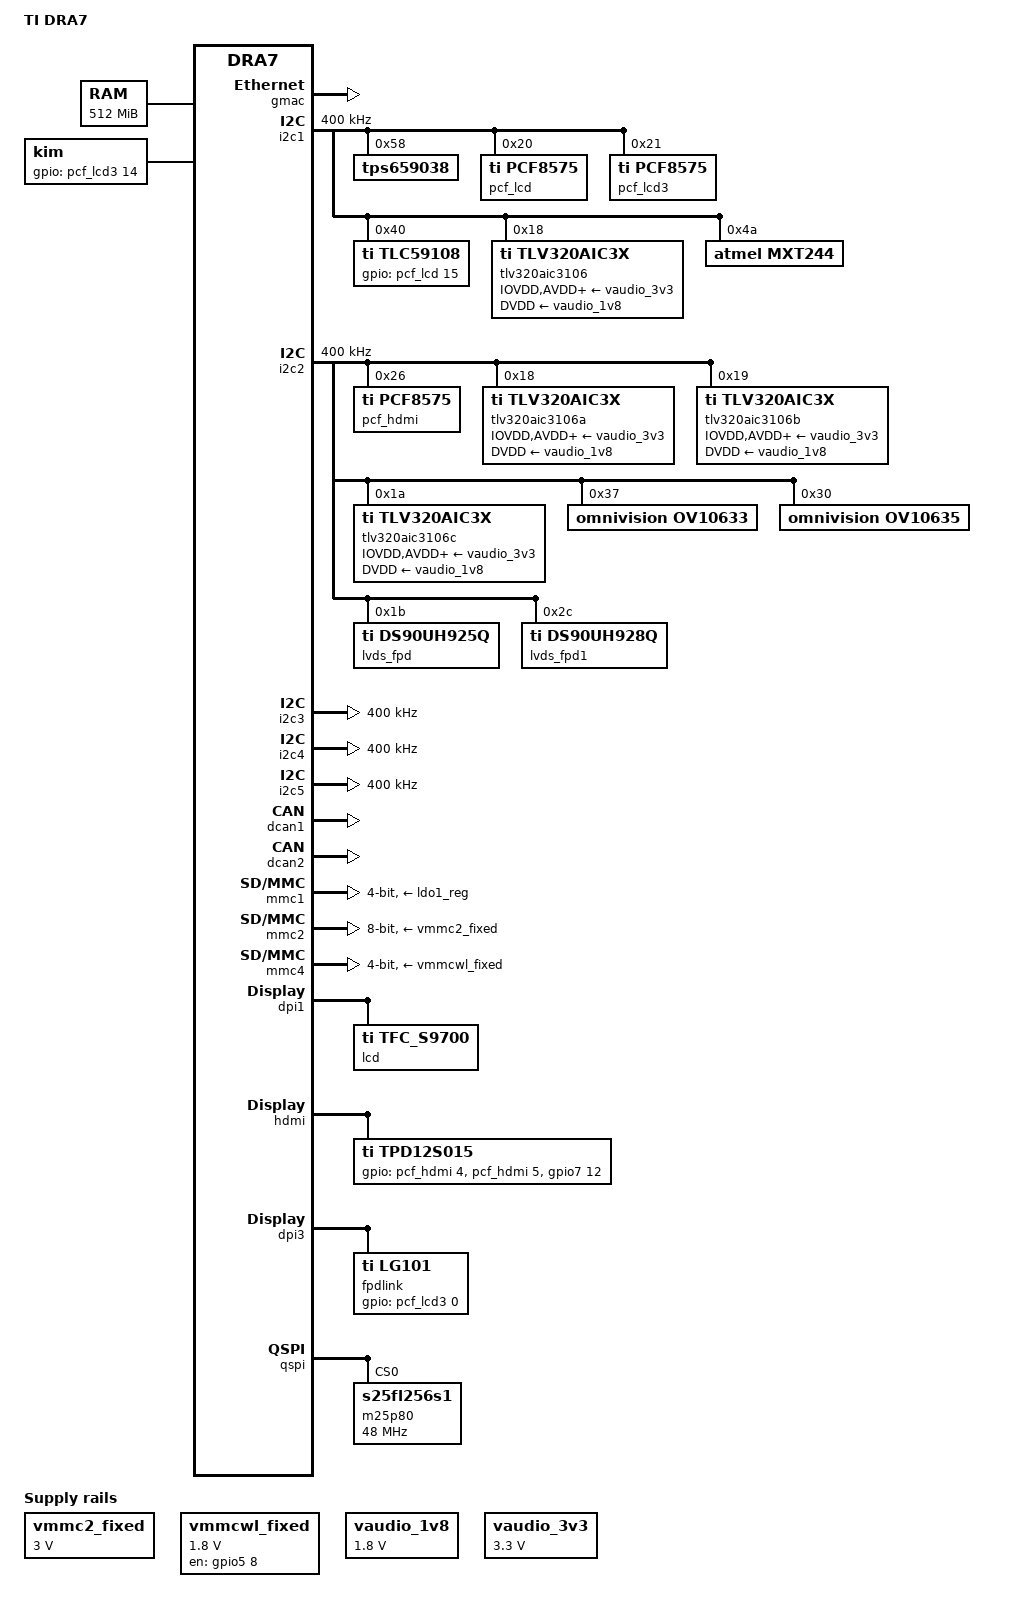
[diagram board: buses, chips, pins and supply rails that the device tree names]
/*
 * Copyright (C) 2013 Texas Instruments Incorporated - http://www.ti.com/
 *
 * This program is free software; you can redistribute it and/or modify
 * it under the terms of the GNU General Public License version 2 as
 * published by the Free Software Foundation.
 */
/dts-v1/;

/*
 * Memory is reserved for ipu1 for rearview camera
 */
/memreserve/ 0x8E000000 0x1000000;
/memreserve/ 0xA0000000 0x1800000;

/include/ "dra7.dtsi"

/ {
	model = "TI DRA7";
	compatible = "ti,dra7-evm", "ti,dra7";

	cpus {
		cpu@0 {
			cpu0-supply = <&abb_mpu>;
		};
	};

	memory {
		device_type = "memory";
		reg = <0x80000000 0x20000000>; /* 512 MB */
	};

	vmmc2_fixed: fixedregulator-mmc2 {
		compatible = "regulator-fixed";
		regulator-name = "vmmc2_fixed";
		regulator-min-microvolt = <3000000>;
		regulator-max-microvolt = <3000000>;
	};

	vmmcwl_fixed: fixedregulator-mmcwl {
		compatible = "regulator-fixed";
		regulator-name = "vmmcwl_fixed";
		regulator-min-microvolt = <1800000>;
		regulator-max-microvolt = <1800000>;
		gpio = <&gpio5 8 0>;	/* gpio5_8 */
		startup-delay-us = <70000>;
		enable-active-high;
	};

	wlcore {
		compatible = "wlcore";
		gpio = <135>;
	};

	ocp {
		gpu: gpu@0x56000000 {
			gpu-supply = <&abb_gpu>;
		};
	};

	vaudio_1v8: fixedregulator-vaudio-dig {
		compatible = "regulator-fixed";
		regulator-name = "vdac_fixed";
		regulator-min-microvolt = <1800000>;
		regulator-max-microvolt = <1800000>;
		regulator-boot-on;
	};

	vaudio_3v3: fixedregulator-vaudio-anlg {
		compatible = "regulator-fixed";
		regulator-name = "vdac_fixed";
		regulator-min-microvolt = <3300000>;
		regulator-max-microvolt = <3300000>;
		regulator-boot-on;
	};

	sound {
		compatible = "ti,dra7-evm-sound";
		ti,model = "dra7evm";
		ti,always-on;

		/* Audio routing */
		ti,audio-routing =
			"LINE1L", "Line In",
			"LINE1R", "Line In",
			"MIC3L", "Mic Bias 2V",
			"MIC3R", "Mic Bias 2V",
			"Mic Bias 2V", "Main Mic",
			"Headphone", "HPLOUT",
			"Headphone", "HPROUT",
			"Line Out", "LLOUT",
			"Line Out", "RLOUT",
			"J3A LINE1L", "JAMR3 Stereo Aux In",
			"J3A LINE1R", "JAMR3 Stereo Aux In",
			"J3B LINE1L", "JAMR3 Mono Mic 1",
			"J3B LINE1R", "JAMR3 Mono Mic 2",
			"JAMR3 Line Out 1", "J3A LLOUT",
			"JAMR3 Line Out 1", "J3A RLOUT",
			"JAMR3 Line Out 2", "J3B LLOUT",
			"JAMR3 Line Out 2", "J3B RLOUT",
			"JAMR3 Line Out 3", "J3C LLOUT",
			"JAMR3 Line Out 3", "J3C RLOUT";

		/* Media DAI link */
		ti,media-cpu = <&mcasp3>;
		ti,media-codec = <&tlv320aic3106>;
		ti,media-mclk-freq = <5644800>;
		ti,media-slots = <2>;

		/* Multichannel DAI link */
		ti,multichannel-cpu = <&mcasp6>;
		ti,multichannel-codec-a = <&tlv320aic3106a>;
		ti,multichannel-codec-b = <&tlv320aic3106b>;
		ti,multichannel-codec-c = <&tlv320aic3106c>;
		ti,multichannel-slots = <8>;
		ti,multichannel-mclk-freq = <11289600>;

		/* Bluetooth */
		ti,bt-cpu = <&mcasp7>;
		ti,bt-bclk-freq = <512000>;
	};

	sound_hdmi {
		compatible = "ti,omap-hdmi-tpd12s015-audio";
		ti,model = "OMAP5HDMI";
		ti,hdmi_audio = <&hdmi>;
		ti,level_shifter = <&tpd12s015>;
	};

	kim {
		compatible = "kim";
		nshutdown_gpio = <132>;
		dev_name = "/dev/ttyO2";
		flow_cntrl = <1>;
		baud_rate = <3686400>;
		gpios = <&pcf_lcd3 14 0>; /* pcf8575@21 P16 */
	};

	btwilink {
		compatible = "btwilink";
	};

	display_skipinit {
		skip_init =<1>;
	};
};

&dra7_pmx_core {
        pinctrl-names = "default";
        pinctrl-0 = <
		&atl_pins
		&mcasp3_pins
		&mcasp6_pins
		&mcasp7_pins
		&mcasp8_pins
		&vout1_pins
		&vout3_pins
		&vin1a_pins
		&usb_pins
		&irq_pins
		&bt_uart3_pins
		&wl_pins
		&wlirq_pins
	>;

	atl_pins: pinmux_atl_pins {
		pinctrl-single,pins = <
			0x298 0x00000005	/* xref_clk1.atl_clk1 OUTPUT | MODE5 */
			0x29c 0x00000005	/* xref_clk2.atl_clk2 OUTPUT | MODE5 */
		>;
	};

	mcasp3_pins: pinmux_mcasp3_pins {
		pinctrl-single,pins = <
			0x324 0x00000000	/* mcasp3_aclkx.mcasp3_aclkx OUTPUT | MODE0 */
			0x328 0x00000000	/* mcasp3_fsx.mcasp3_fsx OUTPUT | MODE0 */
			0x32c 0x00000000	/* mcasp3_axr0.mcasp3_axr0 OUTPUT | MODE0 */
			0x330 0x00040000	/* mcasp3_axr1.mcasp3_axr1 INPUT | MODE0 */
		>;
	};

	mcasp6_pins: pinmux_mcasp6_pins {
		pinctrl-single,pins = <
			0x2d4 0x00000001	/* mcasp1_axr8.mcasp6_axr0 OUTPUT | MODE1 */
			0x2d8 0x00040001	/* mcasp1_axr9.mcasp6_axr1 INPUT | MODE 1 */
			0x2dc 0x00000001	/* mcasp1_axr10.mcasp6_clkx OUTPUT | MODE1 */
			0x2e0 0x00000001	/* mcasp1_axr11.mcasp6_fsx OUTPUT | MODE1 */
		>;
	};

	mcasp7_pins: pinmux_mcasp7_pins {
		pinctrl-single,pins = <
			0x2e4 0x00040001	/* mcasp1_axr12.mcasp7_axr0 INPUT | MODE 1 */
			0x2e8 0x00000001	/* mcasp1_axr13.mcasp7_axr1 OUTPUT | MODE 1 */
			0x2ec 0x00040001	/* mcasp1_axr14.mcasp7_clkx INPUT | MODE1 */
			0x2f0 0x00040001	/* mcasp1_axr15.mcasp7_fsx INPUT | MODE1 */
		>;
	};

	mcasp8_pins: pinmux_mcasp8_pins {
		pinctrl-single,pins = <
			0x2fc 0x00040001	/* mcasp2_aclkr.mcasp8_axr2 OUTPUT | MODE1 */
		>;
	};

	irq_pins: pinmux_irq_pins {
                pinctrl-single,pins = <
			0x420	0x1	/* Wakeup2 INPUT | MODE1 */
                >;
        };

	usb_pins: pinmux_usb_pins {
                pinctrl-single,pins = <
			0x280	0xc0000	/* DRV1_VBUS SLEW | PULLDEN | MODE0 */
			0x284	0xc0000	/* DRV2_VBUS SLEW | PULLDEN | MODE0 */
                >;
        };

	i2c2_pins: pinmux_i2c2_pins {
                pinctrl-single,pins = <
			0x408	0x60000	/* i2c2_sda INPUT | MODE0 */
			0x40C	0x60000	/* i2c2_scl INPUT | MODE0 */
                >;
        };

	vout1_pins: pinmux_vout1_pins {
		pinctrl-single,pins = <
			0x1C8	0x0	/* vout1_clk OUTPUT | MODE0 */
			0x1CC	0x0	/* vout1_de OUTPUT | MODE0 */
			0x1D0	0x0	/* vout1_fld OUTPUT | MODE0 */
			0x1D4	0x0	/* vout1_hsync OUTPUT | MODE0 */
			0x1D8	0x0	/* vout1_vsync OUTPUT | MODE0 */
			0x1DC	0x0	/* vout1_d0 OUTPUT | MODE0 */
			0x1E0	0x0	/* vout1_d1 OUTPUT | MODE0 */
			0x1E4	0x0	/* vout1_d2 OUTPUT | MODE0 */
			0x1E8	0x0	/* vout1_d3 OUTPUT | MODE0 */
			0x1EC	0x0	/* vout1_d4 OUTPUT | MODE0 */
			0x1F0	0x0	/* vout1_d5 OUTPUT | MODE0 */
			0x1F4	0x0	/* vout1_d6 OUTPUT | MODE0 */
			0x1F8	0x0	/* vout1_d7 OUTPUT | MODE0 */
			0x1FC	0x0	/* vout1_d8 OUTPUT | MODE0 */
			0x200	0x0	/* vout1_d9 OUTPUT | MODE0 */
			0x204	0x0	/* vout1_d10 OUTPUT | MODE0 */
			0x208	0x0	/* vout1_d11 OUTPUT | MODE0 */
			0x20C	0x0	/* vout1_d12 OUTPUT | MODE0 */
			0x210	0x0	/* vout1_d13 OUTPUT | MODE0 */
			0x214	0x0	/* vout1_d14 OUTPUT | MODE0 */
			0x218	0x0	/* vout1_d15 OUTPUT | MODE0 */
			0x21C	0x0	/* vout1_d16 OUTPUT | MODE0 */
			0x220	0x0	/* vout1_d17 OUTPUT | MODE0 */
			0x224	0x0	/* vout1_d18 OUTPUT | MODE0 */
			0x228	0x0	/* vout1_d19 OUTPUT | MODE0 */
			0x22C	0x0	/* vout1_d20 OUTPUT | MODE0 */
			0x230	0x0	/* vout1_d21 OUTPUT | MODE0 */
			0x234	0x0	/* vout1_d22 OUTPUT | MODE0 */
			0x238	0x0	/* vout1_d23 OUTPUT | MODE0 */
		>;
	};

	vout3_pins: pinmux_vout3_pins {
		pinctrl-single,pins = <
			0x000	0x3	/*GPMC_AD0  = VOUT3_D0*/
			0x004	0x3	/*GPMC_AD1  = VOUT3_D1*/
			0x008	0x3	/*GPMC_AD2  = VOUT3_D2*/
			0x00c	0x3	/*GPMC_AD3  = VOUT3_D3*/
			0x010	0x3	/*GPMC_AD4  = VOUT3_D4*/
			0x014	0x3	/*GPMC_AD5  = VOUT3_D5*/
			0x018	0x3	/*GPMC_AD6  = VOUT3_D6*/
			0x01c	0x3	/*GPMC_AD7  = VOUT3_D7*/
			0x020	0x3	/*GPMC_AD8  = VOUT3_D8*/
			0x024	0x3	/*GPMC_AD9  = VOUT3_D9*/
			0x028	0x3	/*GPMC_AD10 = VOUT3_D10*/
			0x02c	0x3	/*GPMC_AD11 = VOUT3_D11*/
			0x030	0x3	/*GPMC_AD12 = VOUT3_D12*/
			0x034	0x3	/*GPMC_AD13 = VOUT3_D13*/
			0x038	0x3	/*GPMC_AD14 = VOUT3_D14*/
			0x03c	0x3	/*GPMC_AD15 = VOUT3_D15*/
			0x040	0x3	/*GPMC_A0   = VOUT3_D16*/
			0x044	0x3	/*GPMC_A1   = VOUT3_D17*/
			0x048	0x3	/*GPMC_A2   = VOUT3_D18*/
			0x04c	0x3	/*GPMC_A3   = VOUT3_D19*/
			0x050	0x3	/*GPMC_A4   = VOUT3_D20*/
			0x054	0x3	/*GPMC_A5   = VOUT3_D21*/
			0x058	0x3	/*GPMC_A6   = VOUT3_D22*/
			0x05c	0x3	/*GPMC_A7   = VOUT3_D23*/
			0x060	0x3	/*GPMC_A8   = VOUT3_HSYNC*/
			0x064	0x3	/*GPMC_A9   = VOUT3_VSYNC*/
			0x068	0x3	/*GPMC_A10  = VOUT3_DE*/
			0x06c	0x3	/*GPMC_A11  = VOUT3_FLD*/
			0x0bc	0x3	/*GPMC_CS3  = VOUT3_CLK*/
		>;
	};

	vin1a_pins: pinmux_vin1a_pins {
		pinctrl-single,pins = <
			0x0DC	0x00040000 /* vin1a_clk0 OUTPUT | MODE0 */
			0x0E4	0x00040000 /* vin1a_de0 OUTPUT | MODE0 */
			0x0E8	0x00040000 /* vin1a_fld0 OUTPUT | MODE0 */
			0x0EC	0x00040000 /* vin1a_hsync0	OUTPUT | MODE0 */
			0x0F0	0x00040000 /* vin1a_vsync0 OUTPUT | MODE0 */
			0x0F4	0x00040000 /* vin1a_d0	OUTPUT | MODE0 */
			0x0F8	0x00040000 /* vin1a_d1	OUTPUT | MODE0 */
			0x0FC	0x00040000 /* vin1a_d2	OUTPUT | MODE0 */
			0x100	0x00040000 /* vin1a_d3 	OUTPUT | MODE0 */
			0x104	0x00040000 /* vin1a_d4 	OUTPUT | MODE0 */
			0x108	0x00040000 /* vin1a_d5	OUTPUT | MODE0 */
			0x10C	0x00040000 /* vin1a_d6	OUTPUT | MODE0 */
			0x110	0x00040000 /* vin1a_d7	OUTPUT | MODE0 */
			0x114	0x00040000 /* vin1a_d8	OUTPUT | MODE0 */
			0x118	0x00040000 /* vin1a_d9	OUTPUT | MODE0 */
			0x11C	0x00040000 /* vin1a_d10	OUTPUT | MODE0 */
			0x120	0x00040000 /* vin1a_d11	OUTPUT | MODE0 */
			0x124	0x00040000 /* vin1a_d12	OUTPUT | MODE0 */
			0x128	0x00040000 /* vin1a_d13	OUTPUT | MODE0 */
			0x12C	0x00040000 /* vin1a_d14	OUTPUT | MODE0 */
			0x130	0x00040000 /* vin1a_d15	OUTPUT | MODE0 */
			0x134	0x00040000 /* vin1a_d16	OUTPUT | MODE0 */
			0x138	0x00040000 /* vin1a_d17	OUTPUT | MODE0 */
			0x13C	0x00040000 /* vin1a_d18	OUTPUT | MODE0 */
			0x140	0x00040000 /* vin1a_d19	OUTPUT | MODE0 */
			0x144	0x00040000 /* vin1a_d20	OUTPUT | MODE0 */
			0x148	0x00040000 /* vin1a_d21	OUTPUT | MODE0 */
			0x14C	0x00040000 /* vin1a_d22	OUTPUT | MODE0 */
			0x150	0x00040000 /* vin1a_d23	OUTPUT | MODE0 */
		>;
	};

	cpsw_default_pins: pinmux_cpsw_default_pins {
		pinctrl-single,pins = <
			/* Slave 1 */
			0x250	0x0 /* rgmii1_tclk PIN_OUTPUT | MUX_MODE0 */
			0x254	0x0 /* rgmii1_tctl PIN_OUTPUT | MUX_MODE0 */
			0x258	0x0 /* rgmii1_td3 PIN_OUTPUT | MUX_MODE0 */
			0x25c	0x0 /* rgmii1_td2 PIN_OUTPUT | MUX_MODE0 */
			0x260	0x0 /* rgmii1_td1 PIN_OUTPUT | MUX_MODE0 */
			0x264	0x0 /* rgmii1_td0 PIN_OUTPUT | MUX_MODE0 */
			0x268	0x00040000 /* rgmii1_rclk PIN_INPUT | MUX_MODE0 */
			0x26c	0x00040000 /* rgmii1_rctl PIN_INPUT | MUX_MODE0 */
			0x270	0x00040000 /* rgmii1_rd3 PIN_INPUT | MUX_MODE0 */
			0x274	0x00040000 /* rgmii1_rd2 PIN_INPUT | MUX_MODE0 */
			0x278	0x00040000 /* rgmii1_rd1 PIN_INPUT | MUX_MODE0 */
			0x27c	0x00040000 /* rgmii1_rd0 PIN_INPUT | MUX_MODE0 */

			/* Slave 2 */
			0x198	0x3 /* rgmii2_tclk PIN_OUTPUT | MUX_MODE3 */
			0x19c	0x3 /* rgmii2_tctl PIN_OUTPUT | MUX_MODE3 */
			0x1a0	0x3 /* rgmii2_td3 PIN_OUTPUT | MUX_MODE3 */
			0x1a4	0x3 /* rgmii2_td2 PIN_OUTPUT | MUX_MODE3 */
			0x1a8	0x3 /* rgmii2_td1 PIN_OUTPUT | MUX_MODE3 */
			0x1ac	0x3 /* rgmii2_td0 PIN_OUTPUT | MUX_MODE3 */
			0x1b0	0x00040003 /* rgmii2_rclk PIN_INPUT | MUX_MODE3 */
			0x1b4	0x00040003 /* rgmii2_rctl PIN_INPUT | MUX_MODE3 */
			0x1b8	0x00040003 /* rgmii2_rd3 PIN_INPUT | MUX_MODE3 */
			0x1bc	0x00040003 /* rgmii2_rd2 PIN_INPUT | MUX_MODE3 */
			0x1c0	0x00040003 /* rgmii2_rd1 PIN_INPUT | MUX_MODE3 */
			0x1c4	0x00040003 /* rgmii2_rd0 PIN_INPUT | MUX_MODE3 */
				>;
		};

	davinci_mdio_default_pins: pinmux_davinci_mdio_default_pins {
		pinctrl-single,pins = <
			/* MDIO */
			0x23c	0x30000 /* mdio_data PIN_OUTPUT_PULLUP | MUX_MODE0 */
			0x240	0x70000 /* mdio_clk PIN_INPUT_PULLUP | MUX_MODE0 */
				>;
		};

	bt_uart3_pins: pinmux_bt_uart3_pins {
		pinctrl-single,pins = <
			0x3c0 0x60001       /* uart3_rx.spi2_sclk:  INPUT | PULLUP | MODE 1 */
			0x3c4 0x1           /* uart3_tx.spi2.d1:    OUTPUT |  MODE 1 */
			0x3c8 0x40001       /* uart3_rts.spi2.c0:   OUTPUT | PULLUP | MODE 1 */
			0x3cc 0x60001       /* uart3_cts.spi2.d0:   INPUT | MODE 1 */
			0x2bc 0xE           /* BT_EN.gp5_4:         OUTPUT | MODE 14 */
		>;
	};

	wl_pins: pinmux_wl_pins {
		pinctrl-single,pins = <
			0x3e8 0x60003	/* MMC4_CLK: INPUTENABLE | PULLUP | MODE3 */
			0x3ec 0x60003	/* MMC4_CMD: INPUTENABLE | PULLUP | MODE3 */
			0x3f0 0x60003	/* MMC4_DAT0: INPUTENABLE | PULLUP | MODE3 */
			0x3f4 0x60003	/* MMC4_DAT1: INPUTENABLE | PULLUP | MODE3 */
			0x3f8 0x60003	/* MMC4_DAT2: INPUTENABLE | PULLUP | MODE3 */
			0x3fc 0x60003	/* MMC4_DAT3: INPUTENABLE | PULLUP | MODE3 */
			0x2cc 0x2000E	/* WLAN_EN: OUTPUT | MODE14 */
		>;
	};

	wlirq_pins: pinmux_wlirq_pins {
		pinctrl-single,pins = <
			0x2c8 0x106000E	/* WLAN_IRQ: INPUT | WAKEUP_ENABLE | MODE 14 */
		>;
	};

	dcan1_pins: pinmux_dcan1_pins {
		pinctrl-single,pins = <
			0x3d0	0x00000000	/* DCAN1_TX: MODE0 */
			0x3d4	0x00060000	/* DCAN1_RX: MODE0 | INPUTENABLE | PULLUP */
		>;
	};

	dcan2_pins: pinmux_dcan2_pins {
		pinctrl-single,pins = <
			0x288	0x00000002	/* DCAN2_TX: MODE2 */
			0x28C	0x00060002	/* DCAN2_RX: MODE2 | INPUTENABLE | PULLUP */
		>;
	};
};

&gmac {
	status="okay";
	pinctrl-names = "default";
	pinctrl-0 = <&cpsw_default_pins>;
	dual_emac = <1>;
};

&davinci_mdio {
	pinctrl-names = "default";
	pinctrl-0 = <&davinci_mdio_default_pins>;
};

&cpsw_emac0 {
	phy_id = <&davinci_mdio>, <2>;
};

&cpsw_emac1 {
	phy_id = <&davinci_mdio>, <3>;
};

&i2c1 {
	clock-frequency = <400000>;

	tps659038: tps659038@58 {
		reg = <0x58>;
	};

	pcf_lcd: pcf8575@20 {
		compatible = "ti,pcf8575";
		reg = <0x20>;
		gpio-controller;
		#gpio-cells = <2>;
		/* HACK: Using n_latch in pcf8575 driver to "drive P10/11" to not hold ETH0/1 in reset */
		n_latch = <0xfcff>;
	};

	pcf_lcd3: pcf8575@21 {
		compatible = "ti,pcf8575";
		reg = <0x21>;
		gpio-controller;
		#gpio-cells = <2>;
		n_latch = <0x1408>;
	};

	/* TLC chip for LCD panel power and backlight */
	tlc59108: tlc59108@40 {
		compatible = "ti,tlc59108";
		reg = <0x40>;
		gpios = <&pcf_lcd 15 0>; /* P15, CON_LCD_PWR_DN */
	};

	tlv320aic3106: tlv320aic3106@18 {
		compatible = "ti,tlv320aic3x";
		reg = <0x18>;
		adc-settle-ms = <40>;
		IOVDD-supply = <&vaudio_3v3>;
		DVDD-supply = <&vaudio_1v8>;
		AVDD-supply = <&vaudio_3v3>;
		DRVDD-supply = <&vaudio_3v3>;
	};

	mXT244:mXT244@4a {
		reg = <0x4a>;
	};
};

/include/ "tps659038.dtsi"

&i2c2 {
        pinctrl-names = "default";
        pinctrl-0 = <&i2c2_pins>;

	clock-frequency = <400000>;

	pcf_hdmi: pcf8575@26 {
		compatible = "ti,pcf8575";
		reg = <0x26>;
		gpio-controller;
		#gpio-cells = <2>;
		n_latch = <0xfffb>;
	};

	tlv320aic3106a: tlv320aic3106@18 {
		compatible = "ti,tlv320aic3x";
		reg = <0x18>;
		IOVDD-supply = <&vaudio_3v3>;
		DVDD-supply = <&vaudio_1v8>;
		AVDD-supply = <&vaudio_3v3>;
		DRVDD-supply = <&vaudio_3v3>;
	};

	tlv320aic3106b: tlv320aic3106@19 {
		compatible = "ti,tlv320aic3x";
		reg = <0x19>;
		IOVDD-supply = <&vaudio_3v3>;
		DVDD-supply = <&vaudio_1v8>;
		AVDD-supply = <&vaudio_3v3>;
		DRVDD-supply = <&vaudio_3v3>;
	};

	tlv320aic3106c: tlv320aic3106@1a {
		compatible = "ti,tlv320aic3x";
		reg = <0x1a>;
		IOVDD-supply = <&vaudio_3v3>;
		DVDD-supply = <&vaudio_1v8>;
		AVDD-supply = <&vaudio_3v3>;
		DRVDD-supply = <&vaudio_3v3>;
	};

	ov10633: ov10633@37 {
		compatible = "omnivision,ov10633";
		reg = <0x37>;

		camera_ov10633: camera_ov10633 {
			compatible = "ti,camera-ov10633";

			gpios = <&pcf_hdmi 2 0>,
				<&pcf_hdmi 3 0>,
				<&gpio4 13 0>,
				<&gpio4 14 0>,
				<&gpio4 15 0>,
				<&gpio4 16 0>,
				<&gpio6 17 0>;

			ovnode = <&i2c2>;
			sensor = "ov10633";
		};
	};

	ov10635: ov10635@30 {
		compatible = "omnivision,ov10635";
		reg = <0x30>;

		camera_ov10635: camera_ov10635 {
			compatible = "ti,camera-ov10635";

			gpios = <&pcf_hdmi 2 0>,
				<&pcf_hdmi 3 0>,
				<&gpio4 13 0>,
				<&gpio4 14 0>,
				<&gpio4 15 0>,
				<&gpio4 16 0>,
				<&gpio6 17 0>;

			ovnode = <&i2c2>;
			sensor = "ov10635";
		};
	};

	lvds_fpd: ds90uh925q@1b {
		compatible = "ti,ds90uh925q";
		reg = <0x1b>;
	};

	lvds_fpd1: ds90uh928q@2c {
		compatible = "ti,ds90uh928q";
		reg = <0x2c>;
	};
};

&i2c3 {
	clock-frequency = <400000>;
};

&i2c4 {
	clock-frequency = <400000>;
};

&i2c5 {
	clock-frequency = <400000>;
};

&dcan1 {
	pinctrl-names = "default";
	pinctrl-0 = <&dcan1_pins>;
	status = "okay";
};

&dcan2 {
	pinctrl-names = "default";
	pinctrl-0 = <&dcan2_pins>;
	status = "okay";
};

&mmc1 {
	vmmc-supply = <&ldo1_reg>;
	bus-width = <4>;
};

&mmc2 {
	vmmc-supply = <&vmmc2_fixed>;
	bus-width = <8>;
	ti,non-removable;
};

&mmc3 {
	bus-width = <8>;
	ti,non-removable;
	status = "disabled";
};

&mmc4 {
	vmmc-supply = <&vmmcwl_fixed>;
	bus-width = <4>;
	cap-power-off-card;
	keep-power-in-suspend;
	ti,non-removable;
};

&avs_mpu {
	avs-supply = <&smps123_reg>;
};

&avs_core {
	avs-supply = <&smps7_reg>;
};

&avs_gpu {
	avs-supply = <&smps6_reg>;
};

&avs_dspeve {
	avs-supply = <&smps45_reg>;
};

&avs_iva {
	avs-supply = <&smps8_reg>;
};

&dpi1 {
	lcd {
		compatible = "ti,tfc_s9700";
		tlc = <&tlc59108>;
		data-lines = <24>;
	};
};

&hdmi {
	vdda_hdmi_dac-supply = <&ldo3_reg>;
	tpd12s015: tpd12s015 {
		compatible = "ti,tpd12s015";

		gpios = <&pcf_hdmi 4 0>,	/* pcf8575@22 P4, CT_CP_HDP */
			<&pcf_hdmi 5 0>,	/* pcf8575@22 P5, LS_OE */
			<&gpio7 12 0>;		/* gpio7_12/sp1_cs2, HPD */

		hdmi_ddc = <&i2c2>;

		hdmi-monitor {
			compatible = "ti,hdmi_panel";
		};
	};
};

&dpi3 {
	fpdlink {
		compatible = "ti,lg101";
		gpios = <&pcf_lcd3 0 0>; /* pcf8575@21 P0, SEL_GPMC_AD_VID_S0 */
		data-lines = <24>;

		serializer = <&lvds_fpd>;
		dserializer = <&lvds_fpd1>;
	};
};

&mXT244 {
	compatible = "atmel,mXT244";
	interrupts = <0 119 0x4>;

	atmel,config = <
	/* MXT244_GEN_COMMAND(6) */
	0x00 0x00 0x00 0x00 0x00 0x00
	/* MXT244_GEN_POWER(7) */
	0x20 0xff 0x32
	/* MXT244_GEN_ACQUIRE(8) */
	0x0a 0x00 0x05 0x00 0x00 0x00 0x09 0x23
	/* MXT244_TOUCH_MULTI(9) */
	0x00 0x00 0x00 0x13 0x0b 0x00 0x00 0x00 0x02 0x00
	0x00 0x01 0x01 0x0e 0x0a 0x0a 0x0a 0x0a 0x00 0x00
	0x00 0x00 0x00 0x00 0x00 0x00 0x00 0x00 0x00 0x00
	0x00
	/* MXT244_TOUCH_KEYARRAY(15) */
	0x00 0x00 0x00 0x00 0x00 0x00 0x00 0x00 0x00 0x00
	0x00
	/* MXT244_COMMSCONFIG_T18(2) */
	0x00 0x00
	/* MXT244_SPT_GPIOPWM(19) */
	0x00 0x00 0x00 0x00 0x00 0x00 0x00 0x00 0x00 0x00
	0x00 0x00 0x00 0x00 0x00 0x00
	/* MXT244_PROCI_GRIPFACE(20) */
	0x07 0x00 0x00 0x00 0x00 0x00 0x00 0x50 0x28 0x04
	0x0f 0x0a
	/* MXT244_PROCG_NOISE(22) */
	0x05 0x00 0x00 0x00 0x00 0x00 0x00 0x03 0x23 0x00
	0x00 0x05 0x0f 0x19 0x23 0x2d 0x03
	/* MXT244_TOUCH_PROXIMITY(23) */
	0x00 0x00 0x00 0x00 0x00 0x00 0x00 0x00 0x00 0x00
	0x00 0x00 0x00 0x00 0x00
	/* MXT244_PROCI_ONETOUCH(24) */
	0x00 0x00 0x00 0x00 0x00 0x00 0x00 0x00 0x00 0x00
	0x00 0x00 0x00 0x00 0x00 0x00 0x00 0x00 0x00
	/* MXT244_SPT_SELFTEST(25) */
	0x00 0x00 0x00 0x00 0x00 0x00 0x00 0x00 0x00 0x00
	0x00 0x00 0x00 0x00
	/* MXT244_PROCI_TWOTOUCH(27) */
	0x00 0x00 0x00 0x00 0x00 0x00 0x00
	/* MXT244_SPT_CTECONFIG(28) */
	0x00 0x00 0x02 0x08 0x10 0x00 >;

	atmel,x_line = <18>;
	atmel,y_line = <12>;
	atmel,x_size = <800>;
	atmel,y_size = <480>;
	atmel,blen = <0x01>;
	atmel,threshold = <30>;
	atmel,voltage = <2800000>;
	atmel,orient = <0x4>;
};
&qspi {
	spi-max-frequency = <48000000>;
        m25p80@0 {
                compatible = "s25fl256s1";
                spi-max-frequency = <48000000>;
                reg = <0>;
		spi-cpol;
		spi-cpha;
	};
};
